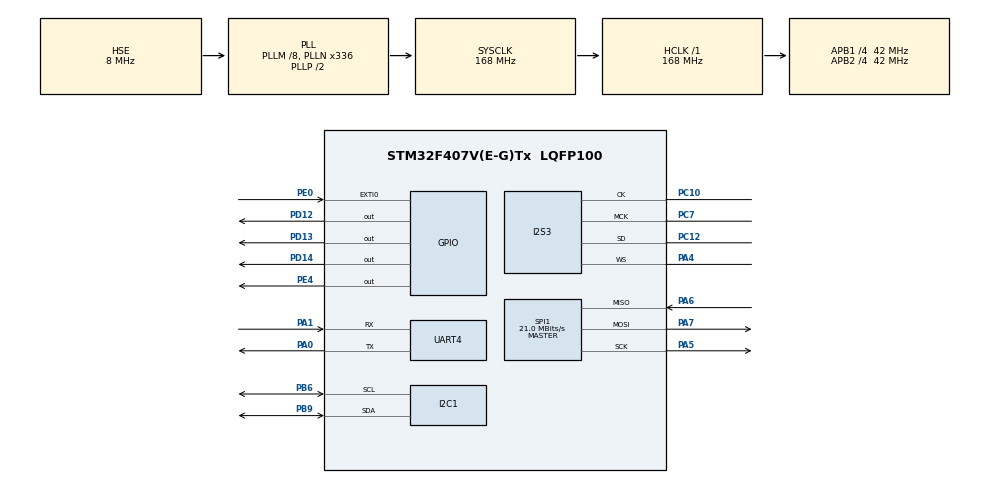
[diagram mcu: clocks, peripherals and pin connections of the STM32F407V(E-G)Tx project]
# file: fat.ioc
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Dma.Request0=SPI3_TX
Dma.SPI3_TX.0.Direction=DMA_MEMORY_TO_PERIPH
Dma.SPI3_TX.0.FIFOMode=DMA_FIFOMODE_ENABLE
Dma.SPI3_TX.0.FIFOThreshold=DMA_FIFO_THRESHOLD_FULL
Dma.SPI3_TX.0.Instance=DMA1_Stream5
Dma.SPI3_TX.0.MemBurst=DMA_MBURST_SINGLE
Dma.SPI3_TX.0.MemDataAlignment=DMA_MDATAALIGN_HALFWORD
Dma.SPI3_TX.0.MemInc=DMA_MINC_ENABLE
Dma.SPI3_TX.0.Mode=DMA_CIRCULAR
Dma.SPI3_TX.0.PeriphBurst=DMA_PBURST_SINGLE
Dma.SPI3_TX.0.PeriphDataAlignment=DMA_PDATAALIGN_HALFWORD
Dma.SPI3_TX.0.PeriphInc=DMA_PINC_DISABLE
Dma.SPI3_TX.0.Priority=DMA_PRIORITY_LOW
I2S3.AudioFreq=I2S_AUDIOFREQ_44K
I2S3.ErrorAudioFreq=0.24 %
I2S3.FullDuplexMode=I2S_FULLDUPLEXMODE_DISABLE
I2S3.Instance=SPI$Index
I2S3.RealAudioFreq=44.108 KHz
I2S3.VirtualMode=I2S_MODE_MASTER
Mcu.Family=STM32F4
Mcu.Name=STM32F407V(E-G)Tx
Mcu.Package=LQFP100
NVIC.DMA1_Stream5_IRQn=true\:0\:0\:false\:false\:true\:false\:true
NVIC.EXTI0_IRQn=true\:15\:0\:true\:false\:true\:true\:true
NVIC.PriorityGroup=NVIC_PRIORITYGROUP_4
NVIC.TIM6_DAC_IRQn=true\:0\:0\:true\:false\:true\:false\:true
NVIC.TimeBase=TIM6_DAC_IRQn
NVIC.TimeBaseIP=TIM6
PA0-WKUP.Mode=Asynchronous
PA0-WKUP.Signal=UART4_TX
PA1.Mode=Asynchronous
PA1.Signal=UART4_RX
PA4.Mode=Half_Duplex_Master
PA4.Signal=I2S3_WS
PA5.Mode=Full_Duplex_Master
PA5.Signal=SPI1_SCK
PA6.Mode=Full_Duplex_Master
PA6.Signal=SPI1_MISO
PA7.Mode=Full_Duplex_Master
PA7.Signal=SPI1_MOSI
PB6.Mode=I2C
PB6.Signal=I2C1_SCL
PB9.Mode=I2C
PB9.Signal=I2C1_SDA
PC10.Mode=Half_Duplex_Master
PC10.Signal=I2S3_CK
PC12.Mode=Half_Duplex_Master
PC12.Signal=I2S3_SD
PC7.Mode=Master_Clock_Activated
PC7.Signal=I2S3_MCK
PD12.Signal=GPIO_Output
PD13.Signal=GPIO_Output
PD14.Signal=GPIO_Output
PE0.Signal=GPXTI0
PE4.Signal=GPIO_Output
PH0-OSC_IN.Mode=HSE-External-Oscillator
PH0-OSC_IN.Signal=RCC_OSC_IN
PH1-OSC_OUT.Mode=HSE-External-Oscillator
PH1-OSC_OUT.Signal=RCC_OSC_OUT
ProjectManager.HeapSize=0x200
ProjectManager.StackSize=0x400
ProjectManager.TargetToolchain=STM32CubeIDE
RCC.48MHZClocksFreq_Value=84000000
RCC.AHBFreq_Value=168000000
RCC.APB1CLKDivider=RCC_HCLK_DIV4
RCC.APB1Freq_Value=42000000
RCC.APB1TimFreq_Value=84000000
RCC.APB2CLKDivider=RCC_HCLK_DIV4
RCC.APB2Freq_Value=42000000
RCC.APB2TimFreq_Value=84000000
RCC.CortexFreq_Value=168000000
RCC.HCLKFreq_Value=168000000
RCC.HSE_VALUE=8000000
RCC.HSI_VALUE=16000000
RCC.LSE_VALUE=32768
RCC.PLLI2SN=271
RCC.PLLI2SR=6
RCC.PLLM=8
RCC.PLLN=336
RCC.PLLSourceVirtual=RCC_PLLSOURCE_HSE
RCC.SYSCLKFreq_VALUE=168000000
RCC.SYSCLKSource=RCC_SYSCLKSOURCE_PLLCLK
RCC.VCOOutputFreq_Value=336000000
SPI1.BaudRatePrescaler=SPI_BAUDRATEPRESCALER_2
SPI1.CalculateBaudRate=21.0 MBits/s
SPI1.Direction=SPI_DIRECTION_2LINES
SPI1.Mode=SPI_MODE_MASTER
SPI1.VirtualType=VM_MASTER
UART4.VirtualMode=Asynchronous
VP_SYS_VS_tim6.Mode=TIM6
board=custom

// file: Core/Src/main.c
/* USER CODE BEGIN Header */
/**
 ******************************************************************************
 * @file           : main.c
 * @brief          : Main program body
 ******************************************************************************
 * @attention
 *
 * <h2><center>&copy; Copyright (c) 2021 STMicroelectronics.
 * All rights reserved.</center></h2>
 *
 * This software component is licensed by ST under BSD 3-Clause license,
 * the "License"; You may not use this file except in compliance with the
 * License. You may obtain a copy of the License at:
 *                        opensource.org/licenses/BSD-3-Clause
 *
 ******************************************************************************
 */

#include "mmc_sd.h"
#include "fatfs.h"
#include "fops.h"
#include <string.h>
//#include "main.h"
#include "FreeRTOS.h"

#include "queue.h"
#include "semphr.h"
#include "task.h"
#include "File_Handling.h"
#include "printf.h"
#include "waveplayer.h"
/* USER CODE END Header */
#include "main.h"

/* USER CODE BEGIN Includes */
//#define RXBUFFERSIZE  256
//char RxBuffer[RXBUFFERSIZE];
//#include <stdio.h>
/* USER CODE END Includes */

I2C_HandleTypeDef hi2c1;

I2S_HandleTypeDef hi2s3;
DMA_HandleTypeDef hdma_spi3_tx;

SPI_HandleTypeDef hspi1;

UART_HandleTypeDef huart4;
int mytimer=0;

void SystemClock_Config(void);
static void MX_GPIO_Init(void);
static void MX_DMA_Init(void);
void MX_SPI1_Init(void);
static void MX_UART4_Init(void);
static void MX_I2C1_Init(void);
static void MX_I2S3_Init(void);
/* USER CODE BEGIN PFP */
//extern ApplicationTypeDef Appli_state;
extern AUDIO_PLAYBACK_StateTypeDef AudioState;
SemaphoreHandle_t xSemaphore;
SemaphoreHandle_t xSemaphore_1;
SemaphoreHandle_t xSemaphore_2;
uint8_t flag = pdTRUE;
uint8_t isFinished = 0;

/* USER CODE END PFP */

/* USER CODE BEGIN 0 */
//UART_HandleTypeDef UartHandle;
/* Private function prototypes -----------------------------------------------*/
void Task1(void *pvParameters);
void Task2(void *pvParameters);
void Task3(void *pvParameters);
void Task4(void *pvParameters);;

void SD_RdWrTest(void) {
	int i = 0;
	static uint8_t bufr[SD_SECTOR_SIZE];
	static uint8_t bufw[SD_SECTOR_SIZE];

	for (i = 0; i < sizeof(bufw); i++) {
		bufr[i] = 0;
		bufw[i] = i % 0xFF;
	}

	SD_WriteDisk(bufw, 1, 1);
	SD_ReadDisk(bufr, 1, 1);
	printf("# SD Card Read & Write Test %s!\r\n",
			memcmp(bufr, bufw, sizeof(bufr)) == 0 ? "Successfully" : "Failed");
}
/* USER CODE END 0 */

int main(void) {
	/* USER CODE BEGIN 1 */
	uint64_t CardSize = 0;
	/* USER CODE END 1 */

	/* MCU Configuration--------------------------------------------------------*/

	/* Reset of all peripherals, Initializes the Flash interface and the Systick. */
	HAL_Init();

	/* Configure the system clock */
	SystemClock_Config();

	/* Initialize all configured peripherals */
	MX_GPIO_Init();
	MX_DMA_Init();
	MX_SPI1_Init();
	MX_UART4_Init();
	MX_I2C1_Init();
	MX_I2S3_Init();
	/* USER CODE BEGIN 2 */

	CardSize = SD_GetSectorCount();

	// 字节转为兆
	CardSize = CardSize * SD_SECTOR_SIZE / 1024 / 1024;

	// 打印信息
	printf("# SD Card Type:0x%02X\r\n", SD_Type);
	printf("# SD Card Size:%luMB\r\n", (uint32_t) CardSize);
	HAL_Delay(1000);

	printf(
			"\r\n\r\n####################### HAL Libary SD Card SPI FATFS Demo ################################\r\n");
	MX_FATFS_Init();
	exf_mount();
	exf_getfree();
	FATFS_RdWrTest();

     //xTaskCreate(Task3, "task3", 500, NULL, 1, NULL);
     //xTaskCreate(Task4, "task4", 500, NULL, 2, NULL);
	 xSemaphore_1 = xSemaphoreCreateBinary();
	 xSemaphore_2 = xSemaphoreCreateBinary();
	xTaskCreate(Task1, "task1", 500, NULL, 1, NULL);
	xTaskCreate(Task2, "task2", 500, NULL, 1, NULL);

	vTaskStartScheduler();
	/* USER CODE END 2 */

	/* Infinite loop */
	while (1) {

	}
}

void SystemClock_Config(void) {
	RCC_OscInitTypeDef RCC_OscInitStruct = { 0 };
	RCC_ClkInitTypeDef RCC_ClkInitStruct = { 0 };
	RCC_PeriphCLKInitTypeDef PeriphClkInitStruct = { 0 };

	/** Configure the main internal regulator output voltage
	 */
	__HAL_RCC_PWR_CLK_ENABLE();
	__HAL_PWR_VOLTAGESCALING_CONFIG(PWR_REGULATOR_VOLTAGE_SCALE1);
	/** Initializes the RCC Oscillators according to the specified parameters
	 * in the RCC_OscInitTypeDef structure.
	 */
	RCC_OscInitStruct.OscillatorType = RCC_OSCILLATORTYPE_HSE;
	RCC_OscInitStruct.HSEState = RCC_HSE_ON;
	RCC_OscInitStruct.PLL.PLLState = RCC_PLL_ON;
	RCC_OscInitStruct.PLL.PLLSource = RCC_PLLSOURCE_HSE;
	RCC_OscInitStruct.PLL.PLLM = 8;
	RCC_OscInitStruct.PLL.PLLN = 336;
	RCC_OscInitStruct.PLL.PLLP = RCC_PLLP_DIV2;
	RCC_OscInitStruct.PLL.PLLQ = 4;
	if (HAL_RCC_OscConfig(&RCC_OscInitStruct) != HAL_OK) {
		Error_Handler();
	}
	/** Initializes the CPU, AHB and APB buses clocks
	 */
	RCC_ClkInitStruct.ClockType = RCC_CLOCKTYPE_HCLK | RCC_CLOCKTYPE_SYSCLK
			| RCC_CLOCKTYPE_PCLK1 | RCC_CLOCKTYPE_PCLK2;
	RCC_ClkInitStruct.SYSCLKSource = RCC_SYSCLKSOURCE_PLLCLK;
	RCC_ClkInitStruct.AHBCLKDivider = RCC_SYSCLK_DIV1;
	RCC_ClkInitStruct.APB1CLKDivider = RCC_HCLK_DIV4;
	RCC_ClkInitStruct.APB2CLKDivider = RCC_HCLK_DIV4;

	if (HAL_RCC_ClockConfig(&RCC_ClkInitStruct, FLASH_LATENCY_5) != HAL_OK) {
		Error_Handler();
	}
	PeriphClkInitStruct.PeriphClockSelection = RCC_PERIPHCLK_I2S;
	PeriphClkInitStruct.PLLI2S.PLLI2SN = 271;
	PeriphClkInitStruct.PLLI2S.PLLI2SR = 6;
	if (HAL_RCCEx_PeriphCLKConfig(&PeriphClkInitStruct) != HAL_OK) {
		Error_Handler();
	}
}

static void MX_I2C1_Init(void) {

	hi2c1.Instance = I2C1;
	hi2c1.Init.ClockSpeed = 100000;
	hi2c1.Init.DutyCycle = I2C_DUTYCYCLE_2;
	hi2c1.Init.OwnAddress1 = 0;
	hi2c1.Init.AddressingMode = I2C_ADDRESSINGMODE_7BIT;
	hi2c1.Init.DualAddressMode = I2C_DUALADDRESS_DISABLE;
	hi2c1.Init.OwnAddress2 = 0;
	hi2c1.Init.GeneralCallMode = I2C_GENERALCALL_DISABLE;
	hi2c1.Init.NoStretchMode = I2C_NOSTRETCH_DISABLE;
	if (HAL_I2C_Init(&hi2c1) != HAL_OK) {
		Error_Handler();
	}

}

static void MX_I2S3_Init(void) {

	hi2s3.Instance = SPI3;
	hi2s3.Init.Mode = I2S_MODE_MASTER_TX;
	hi2s3.Init.Standard = I2S_STANDARD_PHILIPS;
	hi2s3.Init.DataFormat = I2S_DATAFORMAT_16B;
	hi2s3.Init.MCLKOutput = I2S_MCLKOUTPUT_ENABLE;
	hi2s3.Init.AudioFreq = I2S_AUDIOFREQ_44K;
	hi2s3.Init.CPOL = I2S_CPOL_LOW;
	hi2s3.Init.ClockSource = I2S_CLOCK_PLL;
	hi2s3.Init.FullDuplexMode = I2S_FULLDUPLEXMODE_DISABLE;
	if (HAL_I2S_Init(&hi2s3) != HAL_OK) {
		Error_Handler();
	}

}

void MX_SPI1_Init(void) {

	/* SPI1 parameter configuration*/
	hspi1.Instance = SPI1;
	hspi1.Init.Mode = SPI_MODE_MASTER;
	hspi1.Init.Direction = SPI_DIRECTION_2LINES;
	hspi1.Init.DataSize = SPI_DATASIZE_8BIT;
	hspi1.Init.CLKPolarity = SPI_POLARITY_LOW;
	hspi1.Init.CLKPhase = SPI_PHASE_1EDGE;
	hspi1.Init.NSS = SPI_NSS_SOFT;
	hspi1.Init.BaudRatePrescaler = SPI_BAUDRATEPRESCALER_4;
	hspi1.Init.FirstBit = SPI_FIRSTBIT_MSB;
	hspi1.Init.TIMode = SPI_TIMODE_DISABLE;
	hspi1.Init.CRCCalculation = SPI_CRCCALCULATION_DISABLE;
	hspi1.Init.CRCPolynomial = 10;
	if (HAL_SPI_Init(&hspi1) != HAL_OK) {
		Error_Handler();
	}

}

static void MX_UART4_Init(void) {

	huart4.Instance = UART4;
	huart4.Init.BaudRate = 115200;
	huart4.Init.WordLength = UART_WORDLENGTH_8B;
	huart4.Init.StopBits = UART_STOPBITS_1;
	huart4.Init.Parity = UART_PARITY_NONE;
	huart4.Init.Mode = UART_MODE_TX_RX;
	huart4.Init.HwFlowCtl = UART_HWCONTROL_NONE;
	huart4.Init.OverSampling = UART_OVERSAMPLING_16;
	if (HAL_UART_Init(&huart4) != HAL_OK) {
		Error_Handler();
	}

}

static void MX_DMA_Init(void) {

	/* DMA controller clock enable */
	__HAL_RCC_DMA1_CLK_ENABLE();

	/* DMA interrupt init */
	/* DMA1_Stream5_IRQn interrupt configuration */
	HAL_NVIC_SetPriority(DMA1_Stream5_IRQn, 0, 0);
	HAL_NVIC_EnableIRQ(DMA1_Stream5_IRQn);

}

static void MX_GPIO_Init(void) {
	GPIO_InitTypeDef GPIO_InitStruct = { 0 };

	/* GPIO Ports Clock Enable */
	__HAL_RCC_GPIOE_CLK_ENABLE();
	__HAL_RCC_GPIOH_CLK_ENABLE();
	__HAL_RCC_GPIOA_CLK_ENABLE();
	__HAL_RCC_GPIOD_CLK_ENABLE();
	__HAL_RCC_GPIOC_CLK_ENABLE();
	__HAL_RCC_GPIOB_CLK_ENABLE();

	/*Configure GPIO pin Output Level */
	HAL_GPIO_WritePin(GPIOE, GPIO_PIN_4, GPIO_PIN_RESET);

	/*Configure GPIO pin Output Level */
	HAL_GPIO_WritePin(GPIOD, GPIO_PIN_12 | GPIO_PIN_13 | GPIO_PIN_14,
			GPIO_PIN_RESET);

	/*Configure GPIO pin : PE4 */
	GPIO_InitStruct.Pin = GPIO_PIN_4;
	GPIO_InitStruct.Mode = GPIO_MODE_OUTPUT_PP;
	GPIO_InitStruct.Pull = GPIO_NOPULL;
	GPIO_InitStruct.Speed = GPIO_SPEED_FREQ_LOW;
	HAL_GPIO_Init(GPIOE, &GPIO_InitStruct);

	/*Configure GPIO pins : PD12 PD13 PD14 */
	GPIO_InitStruct.Pin = GPIO_PIN_12 | GPIO_PIN_13 | GPIO_PIN_14;
	GPIO_InitStruct.Mode = GPIO_MODE_OUTPUT_PP;
	GPIO_InitStruct.Pull = GPIO_NOPULL;
	GPIO_InitStruct.Speed = GPIO_SPEED_FREQ_LOW;
	HAL_GPIO_Init(GPIOD, &GPIO_InitStruct);

	/*Configure GPIO pin : PE0 */
	GPIO_InitStruct.Pin = GPIO_PIN_0;
	GPIO_InitStruct.Mode = GPIO_MODE_IT_RISING;
	GPIO_InitStruct.Pull = GPIO_NOPULL;
	HAL_GPIO_Init(GPIOE, &GPIO_InitStruct);

	/* EXTI interrupt init*/
	HAL_NVIC_SetPriority(EXTI0_IRQn, 15, 0);
	HAL_NVIC_EnableIRQ(EXTI0_IRQn);

}

/* USER CODE BEGIN 4 */
int __io_putchar(int ch){
 uint8_t c=ch;
 HAL_UART_Transmit(&huart4, &c, 1, 100);
 return ch;
}
void Task1(void *pvParameters) {
	uint8_t count=0;

	for (;;) {

		FIL test;
		if (f_open(&test, "TEST.TXT", FA_WRITE) != 0) {
			printf("open file err in task1\r\n");
		} else {
			printf("file open ok in task1\r\n");
		}

		char buff[13];
		memset(buff, 0, 13);
		if(count%2){
			sprintf(buff, "%s", "DataWriteT");
		}else{
			sprintf(buff, "%s", "DataWriteF");
		}
		UINT byteswrite;
		f_write(&test, buff, 12, &byteswrite);
		f_close(&test);
		count++;

		vTaskDelay(1);
		xSemaphoreGive( xSemaphore_2 );
		xSemaphoreTake(xSemaphore_1,portMAX_DELAY);
	}

}

void Task2(void *pvParameters) {
	while (1) {
		xSemaphoreTake(xSemaphore_2,portMAX_DELAY);
		FIL test_1;
		if (f_open(&test_1, "TEST.TXT", FA_READ) != 0) {
			printf("open file err in task2\r\n");
		} else {
			printf("file open ok in task2\r\n");
		}

		char buff[11];
		memset(buff, 0, 11);
		UINT bytesread;
		f_read(&test_1, buff, 11, &bytesread);

		printf("data read is %s in task 2\r\n", buff);

		f_close(&test_1);

		vTaskDelay(1);
		xSemaphoreGive( xSemaphore_1 );
	}
}

void Task3(void *pvParameters) {
	for (;;) {
		AUDIO_PLAYER_Start(0);
		while(!isFinished)
		{
			AUDIO_PLAYER_Process(1);
			if (AudioState == AUDIO_STATE_STOP)
			 {
			    isFinished = 1;
			 }
		}
	}
}

void HAL_GPIO_EXTI_Callback(uint16_t GPIO_Pin) {

	//BaseType_t xHigherPriorityTaskWoken;
	//if (GPIO_Pin == GPIO_PIN_0) {
		//xHigherPriorityTaskWoken = pdFALSE;
	//	if (flag == pdTRUE) {
			//xSemaphoreGiveFromISR(xSemaphore, &xHigherPriorityTaskWoken);
	//	} else {
			//do nothing
		//HAL_GPIO_TogglePin(GPIOD, GPIO_PIN_14);
		//uint8_t data_1 = 0x5f | 0x80;
		//HAL_GPIO_WritePin(GPIOE, GPIO_PIN_3, GPIO_PIN_RESET);
	    //HAL_SPI_Transmit(&hspi1, &data_1, 1, 10);
		////	HAL_Delay(10);
		//HAL_SPI_Receive(&hspi1, &data_1, 1, 10);
		//HAL_GPIO_WritePin(GPIOE, GPIO_PIN_3, GPIO_PIN_SET);
		//portYIELD_FROM_ISR(xHigherPriorityTaskWoken);
	//}

}
/* USER CODE END 4 */

void HAL_TIM_PeriodElapsedCallback(TIM_HandleTypeDef *htim) {
	/* USER CODE BEGIN Callback 0 */
	if(mytimer==5000)
	{
		AudioState =AUDIO_STATE_NEXT;
		mytimer=0;
	}
	mytimer++;
	/* USER CODE END Callback 0 */
	if (htim->Instance == TIM6) {
		HAL_IncTick();
	}
}

void Error_Handler(void) {
	__disable_irq();
	while (1) {
	}
}

/************************ (C) COPYRIGHT STMicroelectronics *****END OF FILE****/
